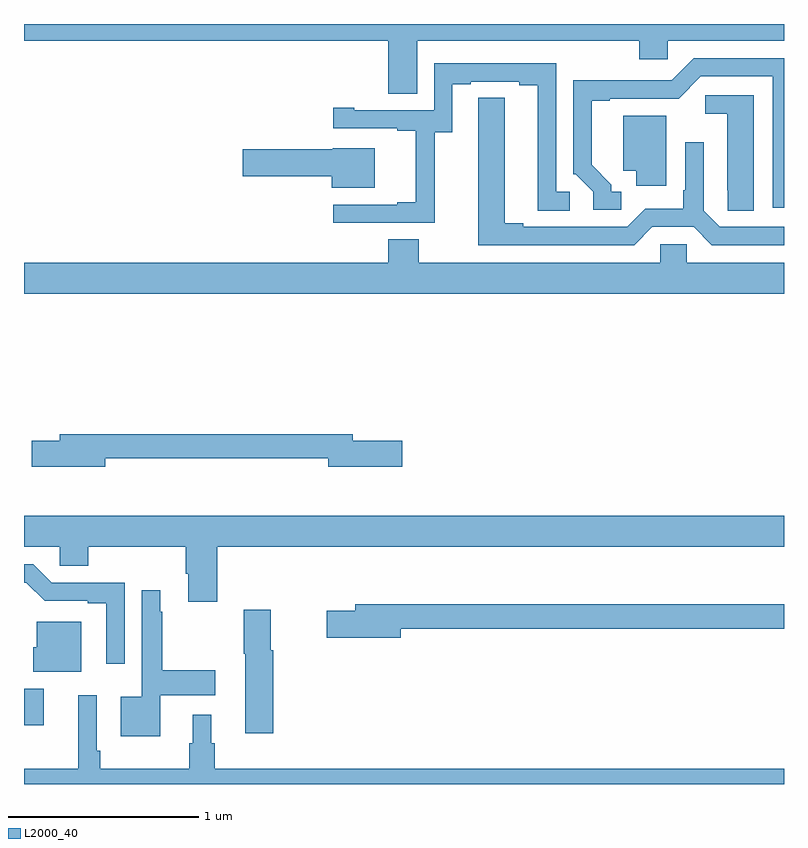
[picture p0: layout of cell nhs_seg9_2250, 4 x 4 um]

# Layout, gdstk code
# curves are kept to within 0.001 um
import gdstk
lib = gdstk.Library(unit=1e-6, precision=1e-09)
def R(c, l, rs):  # rectangles x0, y0, x1, y1
    for r in rs: c.add(gdstk.rectangle(r[:2], r[2:], *l))
def P(c, l, *ps):  # polygons
    for p in ps: c.add(gdstk.Polygon(p, *l))
L2000_40 = (2000, 40)

nhs_seg9_2250 = lib.new_cell('nhs_seg9_2250')
R(nhs_seg9_2250, L2000_40, [(239,1200.81,239.105,1201.002)])
P(nhs_seg9_2250, L2000_40, [(241.069,1204.412),(242.237,1204.412),(242.237,1204.314),(242.388,1204.314),(242.388,1204.412),(243,1204.412),(243,1204.5),(239,1204.5),(239,1204.412),(240.917,1204.412),(240.917,1204.132),(241.069,1204.132)],
  [(242.143,1203.618),(242.092,1203.618),(242.092,1203.653),(241.987,1203.758),(241.987,1204.095),(242.083,1204.095),(242.083,1204.107),(242.445,1204.107),(242.562,1204.224),(242.942,1204.224),(242.942,1203.534),(243,1203.534),(243,1204.32),(242.526,1204.32),(242.409,1204.203),(242.153,1204.203),(242.153,1204.205),(241.89,1204.205),(241.89,1203.708),(241.905,1203.708),(241.995,1203.618),(241.995,1203.522),(242.143,1203.522)],
  [(241.161,1203.931),(241.255,1203.931),(241.255,1204.182),(241.351,1204.182),(241.351,1204.197),(241.607,1204.197),(241.607,1204.177),(241.703,1204.177),(241.703,1203.517),(241.873,1203.517),(241.873,1203.618),(241.8,1203.618),(241.8,1204.293),(241.158,1204.293),(241.158,1204.047),(240.739,1204.047),(240.739,1204.06),(240.627,1204.06),(240.627,1203.951),(240.965,1203.951),(240.965,1203.939),(241.061,1203.939),(241.061,1203.562),(240.965,1203.562),(240.965,1203.549),(240.627,1203.549),(240.627,1203.453),(241.161,1203.453)],
  [(242.842,1204.125),(242.586,1204.125),(242.586,1204.028),(242.702,1204.028),(242.702,1203.625),(242.703,1203.625),(242.703,1203.517),(242.842,1203.517)],
  [(242.307,1203.432),(242.525,1203.432),(242.621,1203.336),(243,1203.336),(243,1203.432),(242.661,1203.432),(242.577,1203.516),(242.577,1203.877),(242.481,1203.877),(242.481,1203.625),(242.469,1203.625),(242.469,1203.528),(242.271,1203.528),(242.175,1203.432),(241.627,1203.432),(241.627,1203.452),(241.531,1203.452),(241.531,1204.112),(241.392,1204.112),(241.391,1203.336),(242.211,1203.336)],
  [(242.38,1204.018),(242.153,1204.018),(242.153,1203.728),(242.222,1203.728),(242.222,1203.648),(242.38,1203.648)],
  [(240.847,1203.847),(240.624,1203.847),(240.624,1203.842),(240.15,1203.842),(240.15,1203.7),(240.62,1203.7),(240.62,1203.638),(240.847,1203.638)],
  [(243,1203.244),(242.487,1203.244),(242.487,1203.342),(242.349,1203.342),(242.349,1203.244),(241.077,1203.244),(241.077,1203.368),(240.917,1203.368),(240.917,1203.244),(239,1203.244),(239,1203.08),(243,1203.08)],
  [(239.428,1202.214),(240.602,1202.214),(240.602,1202.171),(240.991,1202.171),(240.991,1202.306),(240.73,1202.306),(240.73,1202.342),(239.189,1202.342),(239.189,1202.306),(239.04,1202.306),(239.04,1202.171),(239.428,1202.171)],
  [(240.017,1201.748),(243,1201.748),(243,1201.912),(239,1201.912),(239,1201.748),(239.187,1201.748),(239.187,1201.65),(239.339,1201.65),(239.339,1201.748),(239.852,1201.748),(239.852,1201.606),(239.864,1201.606),(239.864,1201.458),(240.017,1201.458)],
  [(239.529,1201.56),(239.145,1201.56),(239.049,1201.656),(239,1201.656),(239,1201.56),(239.013,1201.56),(239.109,1201.464),(239.336,1201.464),(239.336,1201.452),(239.432,1201.452),(239.432,1201.134),(239.529,1201.134)],
  [(239.716,1200.968),(240.007,1200.968),(240.007,1201.098),(239.728,1201.098),(239.728,1201.406),(239.716,1201.406),(239.716,1201.519),(239.619,1201.519),(239.619,1200.958),(239.51,1200.958),(239.51,1200.752),(239.716,1200.752)],
  [(240.982,1201.318),(243,1201.318),(243,1201.447),(240.743,1201.447),(240.743,1201.413),(240.594,1201.413),(240.594,1201.271),(240.982,1201.271)],
  [(240.311,1201.204),(240.298,1201.204),(240.298,1201.417),(240.157,1201.417),(240.157,1201.186),(240.164,1201.186),(240.164,1200.768),(240.311,1200.768)],
  [(239.302,1201.354),(239.066,1201.354),(239.066,1201.221),(239.048,1201.221),(239.048,1201.091),(239.302,1201.091)],
  [(243,1200.58),(240.005,1200.58),(240.005,1200.714),(239.986,1200.714),(239.986,1200.865),(239.888,1200.865),(239.888,1200.714),(239.869,1200.714),(239.869,1200.58),(239.402,1200.58),(239.402,1200.676),(239.382,1200.676),(239.382,1200.967),(239.285,1200.967),(239.285,1200.58),(239,1200.58),(239,1200.5),(243,1200.5)])

lib.write_gds('nhs_seg9_2250.gds')
